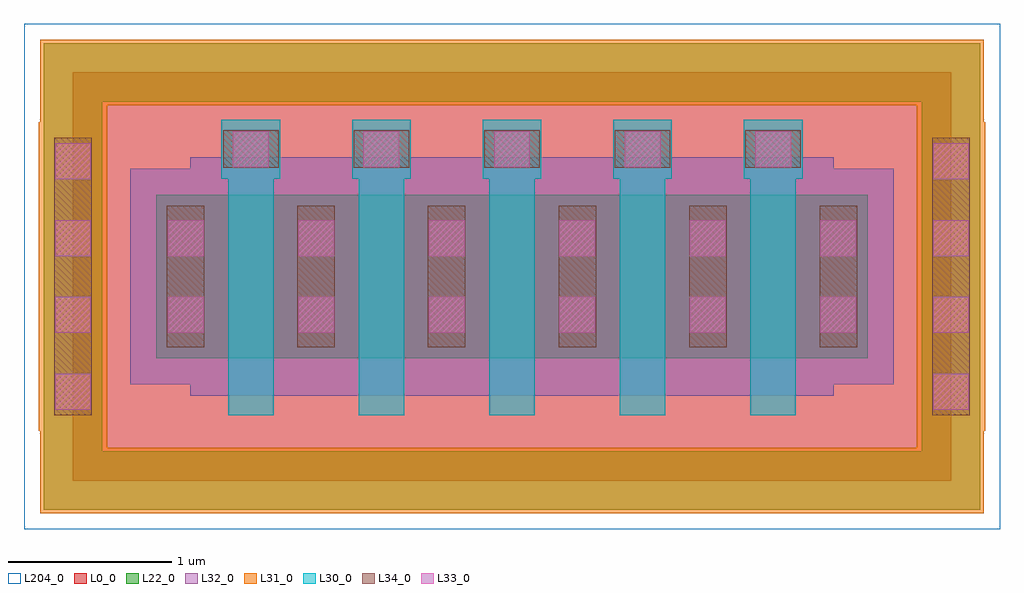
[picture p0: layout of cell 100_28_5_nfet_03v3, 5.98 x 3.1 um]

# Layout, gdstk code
import gdstk
lib = gdstk.Library(unit=1e-6, precision=1e-09)
def R(c, l, rs):  # rectangles x0, y0, x1, y1
    for r in rs: c.add(gdstk.rectangle(r[:2], r[2:], *l))
def A(c, l, x, y, w, h, nx, ny, dx, dy):  # array of equal rectangles
    R(c, l, [(x+i*dx, y+j*dy, x+i*dx+w, y+j*dy+h) for i in range(nx) for j in range(ny)])
L0_0 = (0, 0)
L22_0 = (22, 0)
L30_0 = (30, 0)
L31_0 = (31, 0)
L32_0 = (32, 0)
L33_0 = (33, 0)
L34_0 = (34, 0)
L204_0 = (204, 0)

c_100_28_5_nfet_03v3 = lib.new_cell('100_28_5_nfet_03v3')
R(c_100_28_5_nfet_03v3, L0_0, [(-2.69,-1.25,2.69,1.25)])
R(c_100_28_5_nfet_03v3, L22_0, [(-2.87,-1.43,2.87,-1.07), (-2.87,-1.07,-2.51,1.07), (2.51,-1.07,2.87,1.07), (-2.18,-0.5,2.18,0.5), (-2.87,1.07,2.87,1.43)])
A(c_100_28_5_nfet_03v3, L30_0, -1.74, -0.85, 0.28, 1.45, 5, 1, 0.8, 0)
A(c_100_28_5_nfet_03v3, L30_0, -1.78, 0.6, 0.36, 0.36, 5, 1, 0.8, 0)
R(c_100_28_5_nfet_03v3, L31_0, [(-2.89,-1.45,2.89,-1.05), (-2.89,-1.05,-2.48,-0.945), (2.48,-1.05,2.89,-0.945), (-2.9,-0.945,-2.48,0.945), (2.48,-0.945,2.9,0.945), (-2.89,0.945,-2.48,1.05), (2.48,0.945,2.89,1.05), (-2.89,1.05,2.89,1.45)])
R(c_100_28_5_nfet_03v3, L32_0, [(-1.97,-0.73,1.97,-0.66), (-2.34,-0.66,2.34,0.66), (-1.97,0.66,1.97,0.73)])
A(c_100_28_5_nfet_03v3, L33_0, -2.8, -0.815, 0.22, 0.22, 1, 4, 0, 0.47)
A(c_100_28_5_nfet_03v3, L33_0, 2.58, -0.815, 0.22, 0.22, 1, 4, 0, 0.47)
A(c_100_28_5_nfet_03v3, L33_0, -2.11, -0.345, 0.22, 0.22, 6, 2, 0.8, 0.47)
A(c_100_28_5_nfet_03v3, L33_0, -1.71, 0.67, 0.22, 0.22, 5, 1, 0.8, 0)
A(c_100_28_5_nfet_03v3, L34_0, -2.115, -0.435, 0.23, 0.87, 6, 1, 0.8, 0)
A(c_100_28_5_nfet_03v3, L34_0, -1.77, 0.665, 0.34, 0.23, 5, 1, 0.8, 0)
R(c_100_28_5_nfet_03v3, L34_0, [(-2.805,-0.85,-2.575,0.85), (2.575,-0.85,2.805,0.85)])
R(c_100_28_5_nfet_03v3, L204_0, [(-2.99,-1.55,2.99,1.55)])

lib.write_gds('100_28_5_nfet_03v3.gds')
